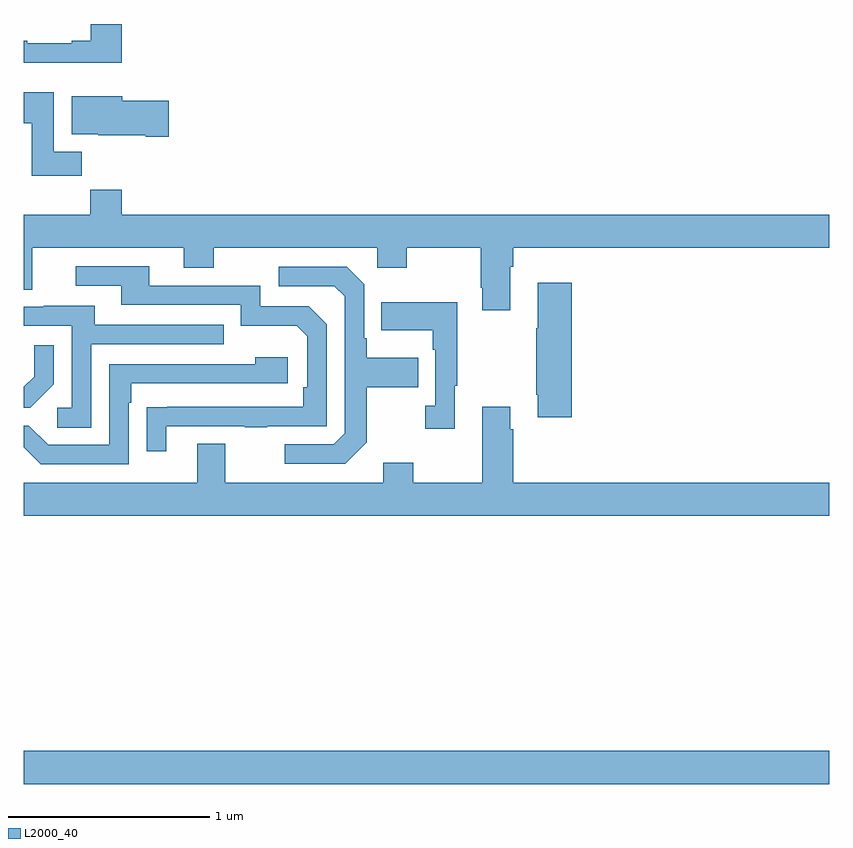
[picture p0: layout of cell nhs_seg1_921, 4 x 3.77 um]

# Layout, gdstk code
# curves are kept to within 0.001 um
import gdstk
lib = gdstk.Library(unit=1e-6, precision=1e-09)
def R(c, l, rs):  # rectangles x0, y0, x1, y1
    for r in rs: c.add(gdstk.rectangle(r[:2], r[2:], *l))
def P(c, l, *ps):  # polygons
    for p in ps: c.add(gdstk.Polygon(p, *l))
L2000_40 = (2000, 40)

nhs_seg1_921 = lib.new_cell('nhs_seg1_921')
R(nhs_seg1_921, L2000_40, [(161,526.424,165,526.588)])
P(nhs_seg1_921, L2000_40, [(161.486,530.199),(161.333,530.199),(161.333,530.116),(161.237,530.116),(161.237,530.103),(161.017,530.103),(161.017,530.116),(161,530.116),(161,530.006),(161.486,530.006)],
  [(161.288,529.564),(161.149,529.564),(161.149,529.861),(161,529.861),(161,529.705),(161.039,529.705),(161.039,529.446),(161.288,529.446)],
  [(161.719,529.817),(161.488,529.817),(161.488,529.84),(161.237,529.84),(161.237,529.652),(161.37,529.652),(161.37,529.646),(161.606,529.646),(161.606,529.639),(161.719,529.639)],
  [(163.417,528.992),(163.43,528.992),(163.43,529.088),(165,529.088),(165,529.252),(161.486,529.252),(161.486,529.376),(161.329,529.376),(161.329,529.252),(161,529.252),(161,528.88),(161.041,528.88),(161.041,529.088),(161.795,529.088),(161.795,528.989),(161.943,528.989),(161.943,529.088),(162.756,529.088),(162.756,528.989),(162.903,528.989),(162.903,529.088),(163.27,529.088),(163.27,528.889),(163.277,528.889),(163.277,528.777),(163.417,528.777)],
  [(161.707,528.201),(162.097,528.201),(162.097,528.196),(162.209,528.196),(162.209,528.201),(162.504,528.201),(162.504,528.708),(162.414,528.798),(162.174,528.798),(162.174,528.9),(161.623,528.9),(161.623,528.996),(161.259,528.996),(161.259,528.9),(161.483,528.9),(161.483,528.804),(162.078,528.804),(162.078,528.701),(162.355,528.701),(162.408,528.648),(162.408,528.394),(162.388,528.394),(162.388,528.297),(161.611,528.296),(161.611,528.078),(161.707,528.078)],
  [(162.703,528.121),(162.703,528.394),(162.959,528.394),(162.959,528.541),(162.703,528.541),(162.703,528.637),(162.69,528.637),(162.69,528.906),(162.603,528.993),(162.267,528.993),(162.267,528.897),(162.543,528.897),(162.594,528.846),(162.594,528.165),(162.54,528.111),(162.297,528.111),(162.297,528.015),(162.597,528.015)],
  [(163.721,528.913),(163.553,528.913),(163.553,528.689),(163.546,528.689),(163.546,528.358),(163.553,528.358),(163.553,528.246),(163.721,528.246)],
  [(163.141,528.401),(163.153,528.401),(163.153,528.817),(162.775,528.817),(162.775,528.677),(163.032,528.677),(163.032,528.581),(163.044,528.581),(163.044,528.302),(162.993,528.302),(162.993,528.189),(163.141,528.189)],
  [(161.334,528.609),(161.993,528.609),(161.993,528.705),(161.353,528.705),(161.353,528.799),(161.099,528.799),(161.099,528.795),(161,528.795),(161,528.699),(161.238,528.699),(161.238,528.294),(161.166,528.294),(161.166,528.193),(161.334,528.193)],
  [(161.148,528.41),(161.148,528.604),(161.051,528.604),(161.051,528.447),(161,528.396),(161,528.294),(161.032,528.294)],
  [(161.52,528.317),(161.533,528.317),(161.533,528.414),(162.31,528.414),(162.31,528.544),(162.149,528.544),(162.149,528.51),(161.424,528.51),(161.424,528.108),(161.121,528.108),(161.025,528.204),(161,528.204),(161,528.097),(161.085,528.012),(161.52,528.012)],
  [(165,527.92),(163.43,527.92),(163.43,528.185),(163.417,528.185),(163.417,528.298),(163.277,528.298),(163.277,527.92),(162.933,527.92),(162.933,528.019),(162.785,528.019),(162.785,527.92),(162.001,527.92),(162.001,528.115),(161.861,528.115),(161.861,527.92),(161,527.92),(161,527.756),(165,527.756)])

lib.write_gds('nhs_seg1_921.gds')
